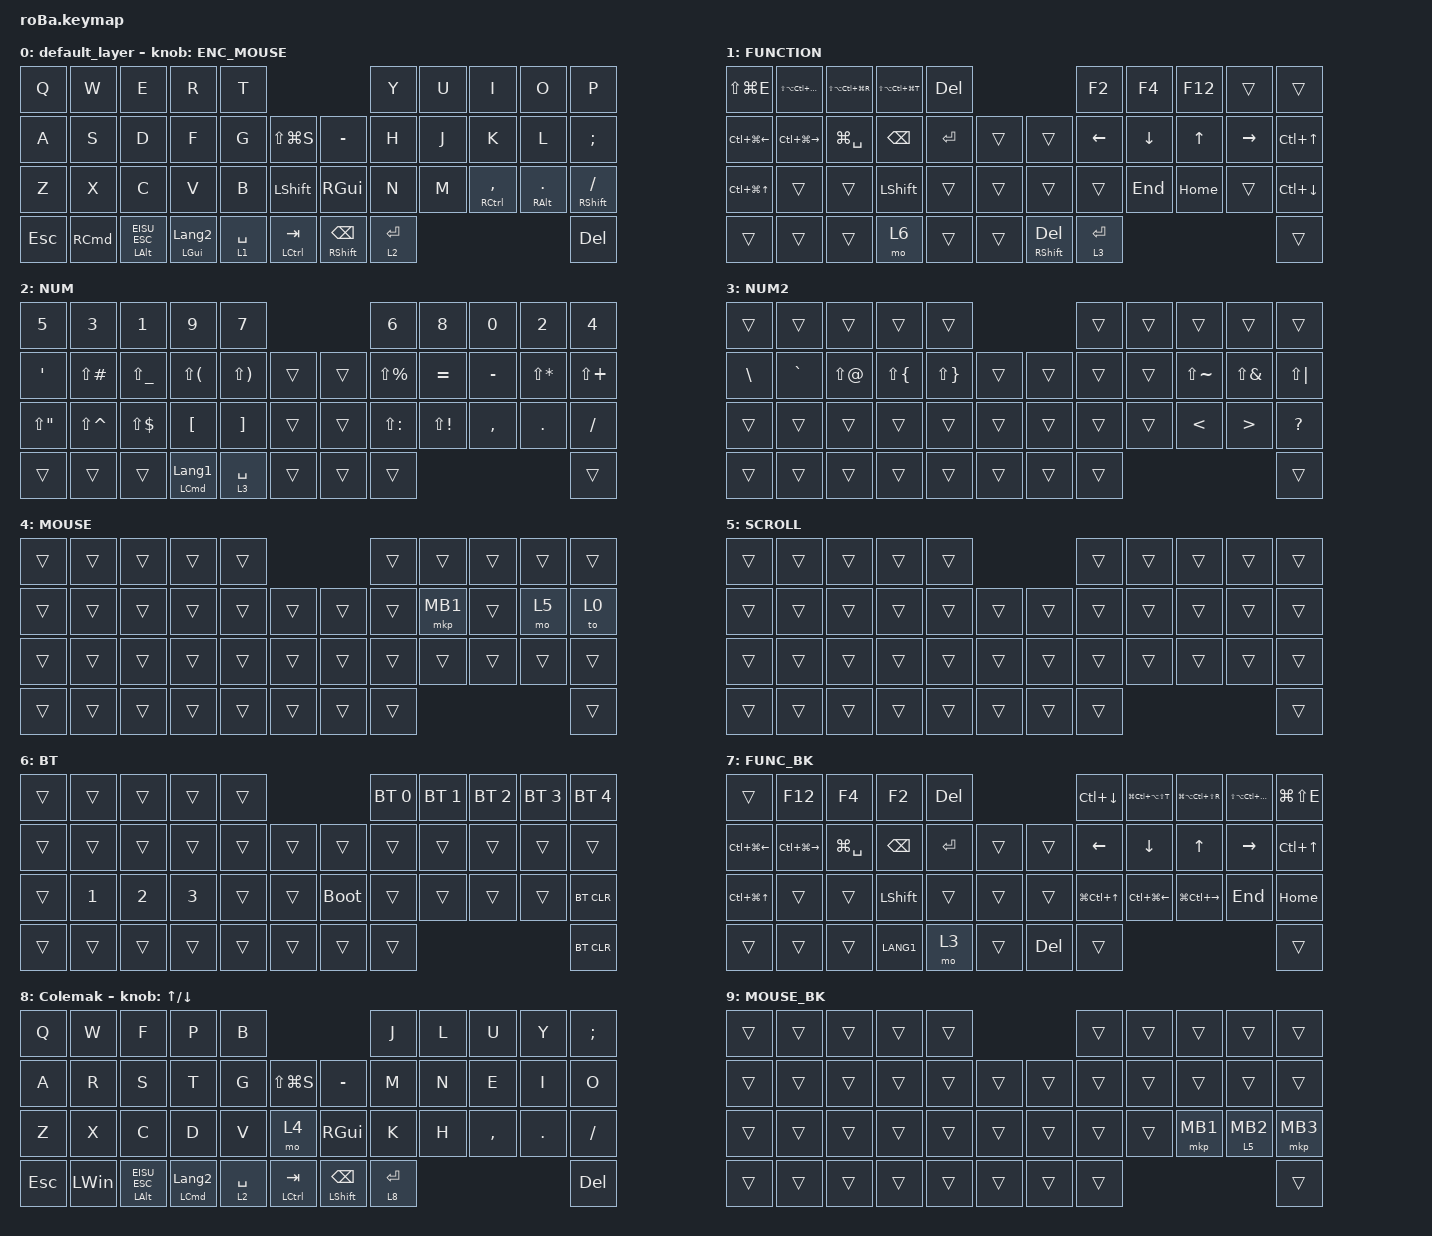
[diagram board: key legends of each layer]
#include <input/processors.dtsi>
#include <behaviors.dtsi>
#include <dt-bindings/zmk/bt.h>
#include <dt-bindings/zmk/keys.h>
#include <dt-bindings/zmk/pointing.h>

#define ZMK_POINTING_DEFAULT_SCRL_VAL 80

&mt {
    flavor = "tap-preferred";
    quick-tap-ms = <175>;
};

&lt { quick-tap-ms = <175>; };

&mkp_input_listener { input-processors = <&zip_temp_layer 4 10000>; };

/ {
    combos {
        compatible = "zmk,combos";

        rclk {
            bindings = <&mkp MB2>;
            key-positions = <31 32>;
        };

        mclk {
            bindings = <&mkp MB3>;
            key-positions = <7 8>;
        };

        Back {
            bindings = <&kp LG(LEFT_BRACKET)>;
            key-positions = <18 19>;
        };

        Forward {
            bindings = <&kp LG(RIGHT_BRACKET)>;
            key-positions = <19 20>;
        };

        esc {
            bindings = <&EISU_ESC>;
            key-positions = <11 12>;
        };

        tab {
            bindings = <&kp TAB>;
            key-positions = <12 13>;
        };
    };

    macros {
        EISU_ESC: EISU_ESC {
            compatible = "zmk,behavior-macro";
            #binding-cells = <0>;
            bindings = <&kp LANG2 &kp ESC>;
            label = "EISU_ESC";
        };
    };

    behaviors {
        MOD_EISU_ESC: MOD_EISU_ESC {
            compatible = "zmk,behavior-hold-tap";
            label = "MOD_EISU_ESC";
            bindings = <&kp>, <&EISU_ESC>;

            #binding-cells = <2>;
            tapping-term-ms = <200>;
            flavor = "tap-preferred";
        };

        LMT: LAYER_MTAP_HOLD {
            compatible = "zmk,behavior-hold-tap";
            label = "LAYER_MTAP_HOLD";
            bindings = <&mo>, <&mkp>;

            #binding-cells = <2>;
            tapping-term-ms = <175>;
            quick-tap-ms = <150>;
            flavor = "tap-preferred";
        };

        ENC_MOUSE: ENCODER_MOUSE {
            compatible = "zmk,behavior-sensor-rotate";
            label = "ENCODER_MOUSE";
            #sensor-binding-cells = <0>;
            bindings = <&msc SCRL_DOWN>, <&msc SCRL_UP>;

            tap-ms = <20>;
        };
    };

    keymap {
        compatible = "zmk,keymap";

        default_layer {
            bindings = <
&kp Q    &kp W              &kp E                     &kp R                    &kp T                                                  &kp Y        &kp U  &kp I            &kp O                 &kp P
&kp A    &kp S              &kp D                     &kp F                    &kp G        &kp LS(LG(S))       &kp MINUS             &kp H        &kp J  &kp K            &kp L                 &kp SEMI
&kp Z    &kp X              &kp C                     &kp V                    &kp B        &kp LEFT_SHIFT      &kp RIGHT_GUI         &kp N        &kp M  &mt RCTRL COMMA  &mt RIGHT_ALT PERIOD  &mt RIGHT_SHIFT SLASH
&kp ESC  &kp RIGHT_COMMAND  &MOD_EISU_ESC LEFT_ALT 0  &mt LEFT_GUI LANGUAGE_2  &lt 1 SPACE  &mt LCTRL TAB       &mt RSHIFT BACKSPACE  &lt 2 ENTER                                                &kp DEL
            >;

            sensor-bindings = <&ENC_MOUSE>;
        };

        FUNCTION {
            bindings = <
&kp LS(LG(E))     &kp LS(LA(LC(LG(W))))  &kp LS(LA(LC(LG(R))))  &kp LS(LA(LC(LG(T))))  &kp DELETE                                      &kp F2       &kp F4    &kp F12   &trans     &trans
&kp LC(LG(LEFT))  &kp LC(LG(RIGHT))      &kp LG(SPACE)          &kp BACKSPACE          &kp ENTER   &trans      &trans                  &kp LEFT     &kp DOWN  &kp UP    &kp RIGHT  &kp LC(UP)
&kp LC(LG(UP))    &trans                 &trans                 &kp LEFT_SHIFT         &trans      &trans      &trans                  &trans       &kp END   &kp HOME  &trans     &kp LC(DOWN)
&trans            &trans                 &trans                 &mo 6                  &trans      &trans      &mt RIGHT_SHIFT DELETE  &lt 3 ENTER                                 &trans
            >;
        };

        NUM {
            bindings = <
&kp N5       &kp N3         &kp N1         &kp N9               &kp N7                            &kp N6         &kp N8        &kp N0     &kp N2        &kp N4
&kp SQT      &kp LS(POUND)  &kp LS(UNDER)  &kp LS(LPAR)         &kp LS(RPAR)  &trans      &trans  &kp LS(PRCNT)  &kp EQUAL     &kp MINUS  &kp LS(STAR)  &kp LS(PLUS)
&kp LS(DQT)  &kp LS(CARET)  &kp LS(DLLR)   &kp LBKT             &kp RBKT      &trans      &trans  &kp LS(COLON)  &kp LS(EXCL)  &kp COMMA  &kp PERIOD    &kp FSLH
&trans       &trans         &trans         &mt LCMD LANGUAGE_1  &lt 3 SPACE   &trans      &trans  &trans                                                &trans
            >;
        };

        NUM2 {
            bindings = <
&trans    &trans     &trans      &trans        &trans                            &trans  &trans  &trans         &trans        &trans
&kp BSLH  &kp GRAVE  &kp LS(AT)  &kp LS(LBRC)  &kp LS(RBRC)  &trans      &trans  &trans  &trans  &kp LS(TILDE)  &kp LS(AMPS)  &kp LS(PIPE)
&trans    &trans     &trans      &trans        &trans        &trans      &trans  &trans  &trans  &kp LT         &kp GT        &kp QUESTION
&trans    &trans     &trans      &trans        &trans        &trans      &trans  &trans                                       &trans
            >;
        };

        MOUSE {
            bindings = <
&trans  &trans  &trans  &trans  &trans                      &trans  &trans    &trans  &trans  &trans
&trans  &trans  &trans  &trans  &trans  &trans      &trans  &trans  &mkp MB1  &trans  &mo 5   &to 0
&trans  &trans  &trans  &trans  &trans  &trans      &trans  &trans  &trans    &trans  &trans  &trans
&trans  &trans  &trans  &trans  &trans  &trans      &trans  &trans                            &trans
            >;
        };

        SCROLL {
            bindings = <
&trans  &trans  &trans  &trans  &trans                      &trans  &trans  &trans  &trans  &trans
&trans  &trans  &trans  &trans  &trans  &trans      &trans  &trans  &trans  &trans  &trans  &trans
&trans  &trans  &trans  &trans  &trans  &trans      &trans  &trans  &trans  &trans  &trans  &trans
&trans  &trans  &trans  &trans  &trans  &trans      &trans  &trans                          &trans
            >;
        };

        BT {
            bindings = <
&trans  &trans        &trans        &trans        &trans                           &bt BT_SEL 0  &bt BT_SEL 1  &bt BT_SEL 2  &bt BT_SEL 3  &bt BT_SEL 4
&trans  &trans        &trans        &trans        &trans  &trans      &trans       &trans        &trans        &trans        &trans        &trans
&trans  &kp NUMBER_1  &kp NUMBER_2  &kp NUMBER_3  &trans  &trans      &bootloader  &trans        &trans        &trans        &trans        &bt BT_CLR
&trans  &trans        &trans        &trans        &trans  &trans      &trans       &trans                                                  &bt BT_CLR
            >;
        };

        FUNC_BK {
            bindings = <
&trans            &kp F12            &kp F4         &kp F2          &kp DELETE                          &kp LC(DOWN)    &kp LG(LC(LA(LS(T))))  &kp LG(LA(LC(LS(R))))  &kp LS(LA(LC(LG(W))))  &kp LG(LS(E))
&kp LC(LG(LEFT))  &kp LC(LG(RIGHT))  &kp LG(SPACE)  &kp BACKSPACE   &kp ENTER   &trans      &trans      &kp LEFT        &kp DOWN               &kp UP                 &kp RIGHT              &kp LC(UP)
&kp LC(LG(UP))    &trans             &trans         &kp LEFT_SHIFT  &trans      &trans      &trans      &kp LG(LC(UP))  &kp LC(LG(LEFT))       &kp LG(LC(RIGHT))      &kp END                &kp HOME
&trans            &trans             &trans         &kp LANG1       &mo 3       &trans      &kp DELETE  &trans                                                                               &trans
            >;
        };

        Colemak {
            bindings = <
&kp Q    &kp W         &kp F                     &kp P                &kp B                                                     &kp J        &kp L  &kp U      &kp Y       &kp SEMICOLON
&kp A    &kp R         &kp S                     &kp T                &kp G        &kp LS(LG(S))      &kp MINUS                 &kp M        &kp N  &kp E      &kp I       &kp O
&kp Z    &kp X         &kp C                     &kp D                &kp V        &mo 4              &kp RIGHT_GUI             &kp K        &kp H  &kp COMMA  &kp PERIOD  &kp SLASH
&kp ESC  &kp LEFT_WIN  &MOD_EISU_ESC LEFT_ALT 0  &mt LCMD LANGUAGE_2  &lt 2 SPACE  &mt LCTRL TAB      &mt LEFT_SHIFT BACKSPACE  &lt 8 ENTER                                &kp DEL
            >;

            sensor-bindings = <&inc_dec_kp UP DOWN>;
        };

        MOUSE_BK {
            bindings = <
&trans  &trans  &trans  &trans  &trans                      &trans  &trans  &trans    &trans      &trans
&trans  &trans  &trans  &trans  &trans  &trans      &trans  &trans  &trans  &trans    &trans      &trans
&trans  &trans  &trans  &trans  &trans  &trans      &trans  &trans  &trans  &mkp MB1  &LMT 5 MB2  &mkp MB3
&trans  &trans  &trans  &trans  &trans  &trans      &trans  &trans                                &trans
            >;
        };
    };
};
